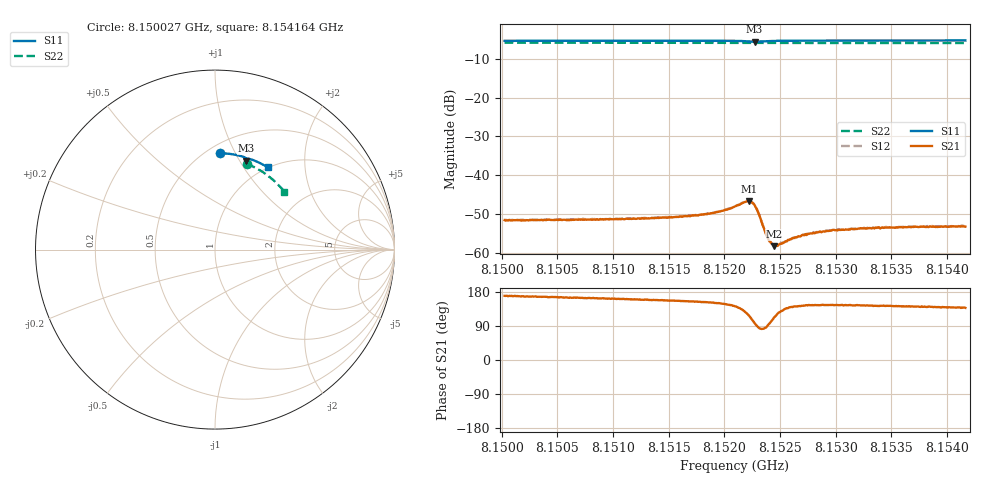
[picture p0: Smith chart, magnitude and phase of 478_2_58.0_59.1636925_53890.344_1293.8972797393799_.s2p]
#  HZ  S  RI  R  50.00
! Rohde & Schwarz Vector Network Analyzer
! Rohde-Schwarz,ZNB20-2Port,1311601062101988,3.16
! Created: UTC 3/21/2024, 1:11:45 AM
! freq[Hz]  re:S11  im:S11  re:S21  im:S21  re:S12  im:S12  re:S22  im:S22
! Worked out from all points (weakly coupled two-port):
!   401 points, 8.150027 GHz to 8.154164 GHz, reference 50 ohm
!   highest |S21| = -46.60 dB at 8.152219 GHz (marker M1); lowest = -58.3 dB at 8.152447 GHz (marker M2)
!   lowest |S11| = -5.6 dB at 8.152271 GHz (marker M3), VSWR 3.21, Z = 38.9 + j53.3 ohm
!   |S11| at or under -10 dB: nowhere
!   |S22| runs from -6.0 to -5.9 dB; largest |S21 - S12| = 0.00011
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8.1500267e9  0.0252 0.5376  -0.0026 0.000492  -0.0026 0.000546  0.1781 0.4775
8.1507196e9  0.0735 0.5343  -0.00259 0.000739  -0.00259 0.000775  0.2187 0.4593
8.1511953e9  0.1065 0.5294  -0.00259 0.000937  -0.00258 0.000996  0.2455 0.4447
8.1514125e9  0.1216 0.5266  -0.00261 0.00107  -0.00267 0.00113  0.2573 0.4375
8.1517952e9  0.1486 0.5198  -0.00277 0.00142  -0.00275 0.00147  0.2779 0.4241
8.1519607e9  0.1609 0.5157  -0.00295 0.00173  -0.00294 0.00181  0.2865 0.4181
8.1520951e9  0.1712 0.51  -0.00312 0.00248  -0.0031 0.00251  0.2933 0.413
8.1521779e9  0.1765 0.5034  -0.00282 0.0035  -0.0028 0.00353  0.2974 0.4095
8.1522192e9  0.1767 0.4989  -0.00215 0.00415  -0.00211 0.00417  0.2994 0.4079
8.1522503e9  0.1743 0.4966  -0.00119 0.00427  -0.00113 0.00434  0.3007 0.4067
8.1522709e9  0.1724 0.4964  -0.000548 0.00409  -0.000477 0.00413  0.3017 0.4059
8.152302e9  0.1703 0.4986  0.000182 0.00335  0.000194 0.00337  0.3033 0.4048
8.152364e9  0.1729 0.5042  0.000175 0.00189  0.000209 0.00191  0.3062 0.4026
8.1523847e9  0.1749 0.5053  9.17e-06 0.00161  5.49e-05 0.00162  0.3074 0.402
8.1524157e9  0.178 0.5062  -0.000256 0.00136  -0.000187 0.00133  0.3088 0.4008
8.1524468e9  0.1809 0.5066  -0.00047 0.00113  -0.000451 0.00117  0.3105 0.3995
8.1524985e9  0.1855 0.5064  -0.000774 0.00105  -0.000787 0.00104  0.3132 0.3974
8.1526122e9  0.1948 0.5045  -0.00119 0.00101  -0.00118 0.00101  0.3187 0.3928
8.1527881e9  0.2075 0.5005  -0.00146 0.00102  -0.00144 0.00107  0.3269 0.3854
8.1529846e9  0.221 0.4955  -0.00162 0.00115  -0.0016 0.00116  0.3363 0.3772
8.153481e9  0.253 0.4809  -0.0017 0.00128  -0.00169 0.00131  0.3584 0.3548
8.1541636e9  0.2944 0.4579  -0.00161 0.00147  -0.00162 0.0015  0.3866 0.3224
